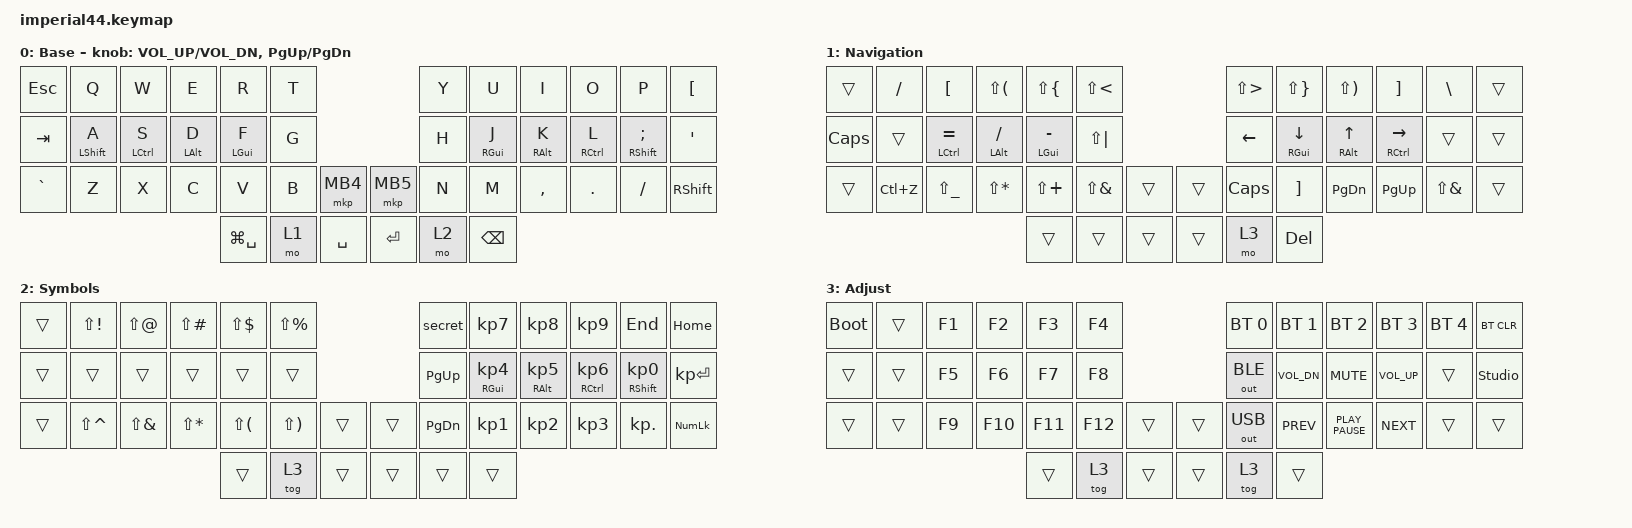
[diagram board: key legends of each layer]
#include "keys_ru.h"
#include <behaviors.dtsi>
#include <dt-bindings/zmk/bt.h>
#include <dt-bindings/zmk/keys.h>
#include <dt-bindings/zmk/outputs.h>
#include <dt-bindings/zmk/pointing.h>

/ {
    macros {
        secret: secret {
            compatible = "zmk,behavior-macro";
            #binding-cells = <0>;
            bindings = <&kp F &kp U &kp C &kp K &kp I &kp N &kp G &kp LS(R) &kp A &kp N &kp D>;
            label = "SECRET";
        };
    };

    behaviors {
        mt_balanced: mt_balanced {
            compatible = "zmk,behavior-hold-tap";
            label = "MT_BALANCED";
            bindings = <&kp>, <&kp>;

            #binding-cells = <2>;
            tapping-term-ms = <200>;
            flavor = "tap-preferred";
        };
    };

    keymap {
        compatible = "zmk,keymap";

        base {
            bindings = <
&kp ESC    &kp Q                      &kp W                        &kp E                    &kp R                    &kp T                          &kp Y  &kp U                     &kp I                     &kp O                         &kp P                          &kp LBKT
&kp TAB    &mt_balanced LEFT_SHIFT A  &mt_balanced LEFT_CONTROL S  &mt_balanced LEFT_ALT D  &mt_balanced LEFT_GUI F  &kp G                          &kp H  &mt_balanced RIGHT_GUI J  &mt_balanced RIGHT_ALT K  &mt_balanced RIGHT_CONTROL L  &mt_balanced RIGHT_SHIFT SEMI  &kp SQT
&kp GRAVE  &kp Z                      &kp X                        &kp C                    &kp V                    &kp B  &mkp MB4     &mkp MB5   &kp N  &kp M                     &kp COMMA                 &kp DOT                       &kp FSLH                       &kp RSHFT
                                                                                            &kp LG(SPACE)            &mo 1  &kp SPACE    &kp ENTER  &mo 2  &kp BSPC
            >;

            display-name = "Base";
            sensor-bindings =
                <&inc_dec_kp C_VOL_UP C_VOL_DN>,
                <&inc_dec_kp PG_UP PG_DN>;
        };

        nav {
            bindings = <
&trans    &kp FSLH   &kp LBKT                  &kp LS(LPAR)                &kp LS(LBRC)                 &kp LS(LT)                      &kp LS(GT)    &kp LS(RBRC)                 &kp LS(RPAR)          &kp RBKT                  &kp BSLH      &trans
&kp CAPS  &trans     &mt_balanced LCTRL EQUAL  &mt_balanced LEFT_ALT FSLH  &mt_balanced LEFT_GUI MINUS  &kp LS(PIPE)                    &kp LEFT      &mt_balanced RIGHT_GUI DOWN  &mt_balanced RALT UP  &mt_balanced RCTRL RIGHT  &trans        &trans
&trans    &kp LC(Z)  &kp LS(UNDER)             &kp LS(STAR)                &kp LS(PLUS)                 &kp LS(AMPS)  &trans    &trans  &kp CAPSLOCK  &kp RBKT                     &kp PG_DN             &kp PG_UP                 &kp LS(AMPS)  &trans
                                                                           &trans                       &trans        &trans    &trans  &mo 3         &kp DEL
            >;

            display-name = "Navigation";
        };

        sym {
            bindings = <
&trans  &kp LS(EXCL)   &kp LS(AT)    &kp LS(POUND)  &kp LS(DLLR)  &kp LS(PRCNT)                    &secret        &kp KP_NUMBER_7                     &kp KP_NUMBER_8                     &kp KP_NUMBER_9                 &kp END                         &kp HOME
&trans  &trans         &trans        &trans         &trans        &trans                           &kp PAGE_UP    &mt_balanced RIGHT_GUI KP_NUMBER_4  &mt_balanced RIGHT_ALT KP_NUMBER_5  &mt_balanced RCTRL KP_NUMBER_6  &mt_balanced RSHFT KP_NUMBER_0  &kp KP_ENTER
&trans  &kp LS(CARET)  &kp LS(AMPS)  &kp LS(STAR)   &kp LS(LPAR)  &kp LS(RPAR)   &trans    &trans  &kp PAGE_DOWN  &kp KP_NUMBER_1                     &kp KP_NUMBER_2                     &kp KP_NUMBER_3                 &kp KP_DOT                      &kp KP_NUMLOCK
                                                    &trans        &tog 3         &trans    &trans  &trans         &trans
            >;

            display-name = "Symbols";
        };

        adj {
            bindings = <
&bootloader  &trans  &kp F1  &kp F2   &kp F3   &kp F4                     &bt BT_SEL 0  &bt BT_SEL 1  &bt BT_SEL 2      &bt BT_SEL 3  &bt BT_SEL 4  &bt BT_CLR
&trans       &trans  &kp F5  &kp F6   &kp F7   &kp F8                     &out OUT_BLE  &kp C_VOL_DN  &kp K_MUTE        &kp C_VOL_UP  &trans        &studio_unlock
&trans       &trans  &kp F9  &kp F10  &kp F11  &kp F12  &trans    &trans  &out OUT_USB  &kp K_PREV    &kp K_PLAY_PAUSE  &kp K_NEXT    &trans        &trans
                                      &trans   &tog 3   &trans    &trans  &tog 3        &trans
            >;

            display-name = "Adjust";
        };
    };
};
